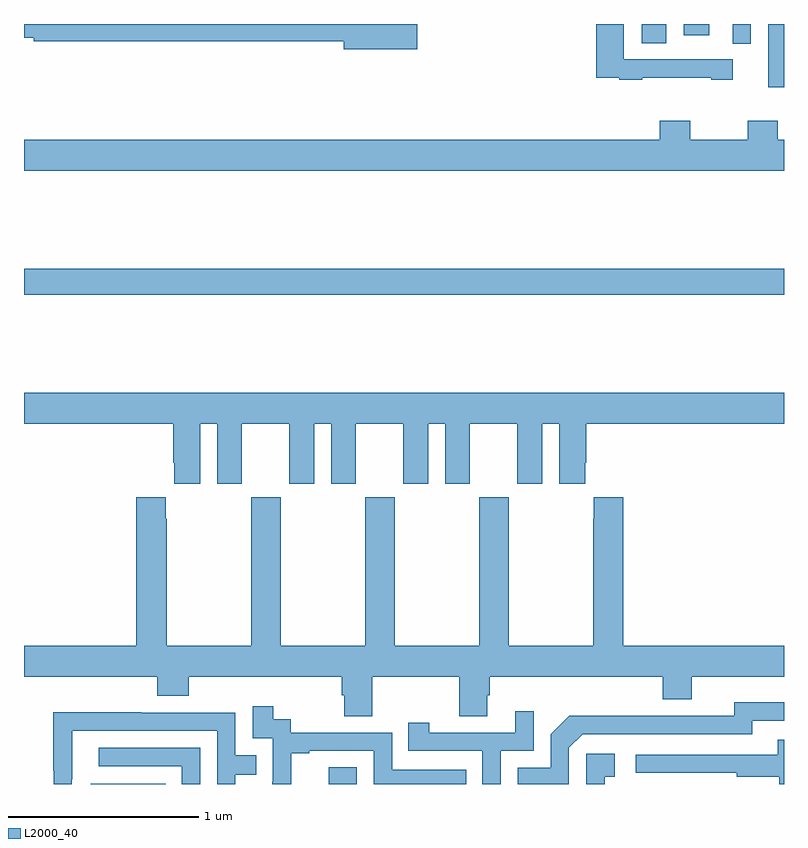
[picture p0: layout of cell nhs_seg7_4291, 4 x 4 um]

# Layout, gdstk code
import gdstk
lib = gdstk.Library(unit=1e-6, precision=1e-09)
def R(c, l, rs):  # rectangles x0, y0, x1, y1
    for r in rs: c.add(gdstk.rectangle(r[:2], r[2:], *l))
def P(c, l, *ps):  # polygons
    for p in ps: c.add(gdstk.Polygon(p, *l))
L2000_40 = (2000, 40)

nhs_seg7_4291 = lib.new_cell('nhs_seg7_4291')
R(nhs_seg7_4291, L2000_40, [(381.35,1052,381.746,1052.002), (382.605,1052,382.752,1052.089), (381,1054.576,385,1054.712), (384.917,1055.667,385,1056), (384.729,1055.895,384.825,1056), (384.251,1055.899,384.379,1056), (384.473,1055.94,384.607,1056)])
P(nhs_seg7_4291, L2000_40, [(384.253,1055.716),(384.617,1055.716),(384.617,1055.706),(384.729,1055.706),(384.729,1055.814),(384.157,1055.814),(384.157,1056),(384.012,1056),(384.012,1055.718),(384.133,1055.718),(384.133,1055.706),(384.253,1055.706)],
  [(383.071,1056),(381,1056),(381,1055.927),(381.052,1055.927),(381.052,1055.908),(382.682,1055.908),(382.682,1055.866),(383.071,1055.866)],
  [(385,1055.392),(384.968,1055.392),(384.968,1055.491),(384.808,1055.491),(384.808,1055.392),(384.507,1055.392),(384.507,1055.491),(384.347,1055.491),(384.347,1055.392),(381,1055.392),(381,1055.228),(385,1055.228)],
  [(381.928,1053.896),(382.016,1053.896),(382.016,1053.579),(382.147,1053.579),(382.147,1053.896),(382.397,1053.896),(382.397,1053.579),(382.528,1053.579),(382.528,1053.896),(382.616,1053.896),(382.616,1053.579),(382.747,1053.579),(382.747,1053.896),(382.997,1053.896),(382.997,1053.579),(383.128,1053.579),(383.128,1053.896),(383.216,1053.896),(383.216,1053.579),(383.347,1053.579),(383.347,1053.896),(383.597,1053.896),(383.597,1053.579),(383.728,1053.579),(383.728,1053.896),(383.816,1053.896),(383.816,1053.579),(383.953,1053.579),(383.953,1053.691),(383.96,1053.691),(383.96,1053.896),(385,1053.896),(385,1054.06),(381,1054.06),(381,1053.896),(381.785,1053.896),(381.785,1053.691),(381.791,1053.691),(381.791,1053.579),(381.928,1053.579)],
  [(382.833,1052.564),(383.29,1052.564),(383.29,1052.356),(383.437,1052.356),(383.437,1052.466),(383.45,1052.466),(383.45,1052.564),(384.362,1052.564),(384.362,1052.447),(384.514,1052.447),(384.514,1052.564),(385,1052.564),(385,1052.728),(384.155,1052.728),(384.155,1053.508),(383.999,1053.508),(383.999,1053.395),(383.995,1053.395),(383.995,1052.728),(383.55,1052.728),(383.55,1053.508),(383.395,1053.508),(383.395,1052.728),(382.95,1052.728),(382.95,1053.508),(382.795,1053.508),(382.795,1052.728),(382.35,1052.728),(382.35,1053.508),(382.195,1053.508),(382.195,1052.728),(381.75,1052.728),(381.75,1053.395),(381.745,1053.395),(381.745,1053.508),(381.59,1053.508),(381.59,1052.728),(381,1052.728),(381,1052.564),(381.701,1052.564),(381.701,1052.465),(381.866,1052.465),(381.866,1052.564),(382.673,1052.564),(382.673,1052.466),(382.685,1052.466),(382.685,1052.356),(382.833,1052.356)],
  [(383.868,1052.19),(383.94,1052.262),(384.834,1052.262),(384.834,1052.334),(385,1052.334),(385,1052.431),(384.738,1052.431),(384.738,1052.358),(384.278,1052.358),(384.278,1052.36),(383.87,1052.36),(383.772,1052.262),(383.772,1052.085),(383.598,1052.085),(383.598,1052),(383.868,1052)],
  [(382.406,1052.163),(382.501,1052.163),(382.501,1052.175),(382.842,1052.175),(382.842,1052),(383.327,1052),(383.327,1052.076),(382.938,1052.076),(382.938,1052.271),(382.404,1052.271),(382.404,1052.34),(382.312,1052.34),(382.312,1052.41),(382.203,1052.41),(382.203,1052.241),(382.308,1052.241),(382.308,1052.012),(382.307,1052.012),(382.307,1052),(382.406,1052)],
  [(383.508,1052.175),(383.682,1052.175),(383.682,1052.383),(383.585,1052.383),(383.585,1052.271),(383.134,1052.271),(383.134,1052.323),(383.023,1052.323),(383.023,1052.175),(383.412,1052.175),(383.412,1052),(383.508,1052)],
  [(381.252,1052.026),(381.253,1052.026),(381.253,1052.28),(382.017,1052.28),(382.017,1052),(382.113,1052),(382.113,1052.05),(382.223,1052.05),(382.223,1052.151),(382.113,1052.151),(382.113,1052.376),(381.617,1052.376),(381.617,1052.378),(381.154,1052.378),(381.154,1052.071),(381.156,1052.071),(381.156,1052),(381.252,1052)],
  [(385,1052.233),(384.967,1052.233),(384.967,1052.154),(384.219,1052.154),(384.219,1052.058),(384.751,1052.058),(384.751,1052.038),(384.975,1052.038),(384.975,1052),(385,1052)],
  [(381.927,1052.19),(381.393,1052.19),(381.393,1052.094),(381.831,1052.094),(381.831,1052),(381.927,1052)],
  [(384.056,1052.037),(384.109,1052.037),(384.109,1052.158),(383.958,1052.158),(383.958,1052),(384.056,1052)])

lib.write_gds('nhs_seg7_4291.gds')
